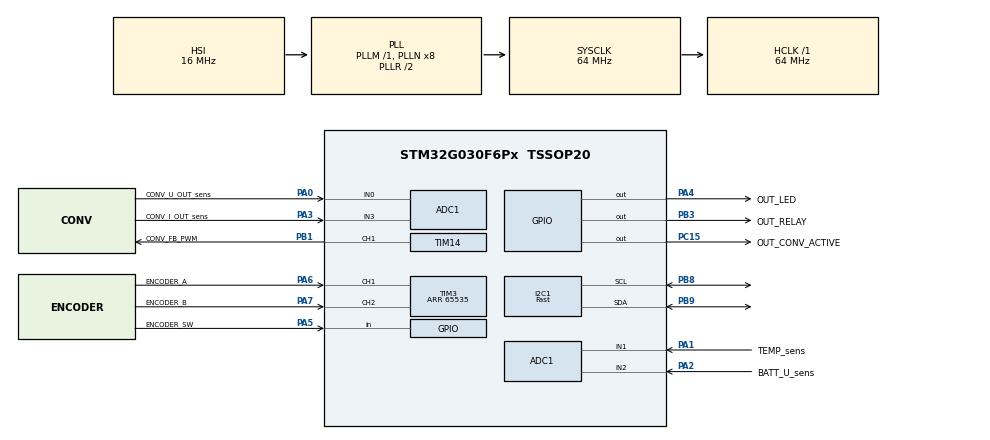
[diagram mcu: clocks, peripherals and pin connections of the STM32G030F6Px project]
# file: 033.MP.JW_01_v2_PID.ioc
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ADC1.Channel-0\#ChannelRegularConversion=ADC_CHANNEL_0
ADC1.Channel-1\#ChannelRegularConversion=ADC_CHANNEL_1
ADC1.Channel-2\#ChannelRegularConversion=ADC_CHANNEL_2
ADC1.Channel-3\#ChannelRegularConversion=ADC_CHANNEL_3
ADC1.ClockPrescaler=ADC_CLOCK_SYNC_PCLK_DIV2
ADC1.ContinuousConvMode=ENABLE
ADC1.DMAContinuousRequests=ENABLE
ADC1.NbrOfConversion=4
ADC1.NbrOfConversionFlag=1
ADC1.OversamplingMode=ENABLE
ADC1.Rank-0\#ChannelRegularConversion=1
ADC1.Rank-1\#ChannelRegularConversion=2
ADC1.Rank-2\#ChannelRegularConversion=3
ADC1.Rank-3\#ChannelRegularConversion=4
ADC1.Ratio=ADC_OVERSAMPLING_RATIO_256
ADC1.RightBitShift=ADC_RIGHTBITSHIFT_8
ADC1.SamplingTime-0\#ChannelRegularConversion=ADC_SAMPLINGTIME_COMMON_1
ADC1.SamplingTime-1\#ChannelRegularConversion=ADC_SAMPLINGTIME_COMMON_1
ADC1.SamplingTime-2\#ChannelRegularConversion=ADC_SAMPLINGTIME_COMMON_1
ADC1.SamplingTime-3\#ChannelRegularConversion=ADC_SAMPLINGTIME_COMMON_1
ADC1.SamplingTimeCommon1=ADC_SAMPLETIME_160CYCLES_5
ADC1.SamplingTimeCommon2=ADC_SAMPLETIME_160CYCLES_5
ADC1.SelectedChannel=ADC_CHANNEL_0|ADC_CHANNEL_1|ADC_CHANNEL_2|ADC_CHANNEL_3|ADC_CHANNEL_VBAT
ADC1.TriggerFrequencyMode=ADC_TRIGGER_FREQ_LOW
ADC1.master=1
Dma.ADC1.0.Direction=DMA_PERIPH_TO_MEMORY
Dma.ADC1.0.EventEnable=DISABLE
Dma.ADC1.0.Instance=DMA1_Channel1
Dma.ADC1.0.MemDataAlignment=DMA_MDATAALIGN_WORD
Dma.ADC1.0.MemInc=DMA_MINC_ENABLE
Dma.ADC1.0.Mode=DMA_CIRCULAR
Dma.ADC1.0.PeriphDataAlignment=DMA_PDATAALIGN_WORD
Dma.ADC1.0.PeriphInc=DMA_PINC_DISABLE
Dma.ADC1.0.Polarity=HAL_DMAMUX_REQ_GEN_RISING
Dma.ADC1.0.Priority=DMA_PRIORITY_LOW
Dma.ADC1.0.RequestNumber=1
Dma.ADC1.0.SignalID=NONE
Dma.ADC1.0.SyncEnable=DISABLE
Dma.ADC1.0.SyncPolarity=HAL_DMAMUX_SYNC_NO_EVENT
Dma.ADC1.0.SyncRequestNumber=1
Dma.ADC1.0.SyncSignalID=NONE
Dma.Request0=ADC1
I2C1.CustomTiming=Disabled
I2C1.I2C_Speed_Mode=I2C_Fast
I2C1.Timing=0x00C12166
Mcu.Family=STM32G0
Mcu.Name=STM32G030F6Px
Mcu.Package=TSSOP20
NVIC.DMA1_Channel1_IRQn=true\:0\:0\:false\:false\:true\:false\:true\:true
NVIC.TIM3_IRQn=true\:0\:0\:false\:false\:true\:true\:true\:true
PA0.GPIO_Label=CONV_U_OUT_sens
PA0.Mode=IN0
PA0.Signal=ADC1_IN0
PA1.GPIO_Label=TEMP_sens
PA1.Mode=IN1
PA1.Signal=ADC1_IN1
PA14-BOOT0__PA15.StandardMode=true
PA2.GPIO_Label=BATT_U_sens
PA2.Mode=IN2
PA2.Signal=ADC1_IN2
PA3.GPIO_Label=CONV_I_OUT_sens
PA3.Mode=IN3
PA3.Signal=ADC1_IN3
PA4.GPIO_Label=OUT_LED
PA4.GPIO_PuPd=GPIO_PULLDOWN
PA4.Signal=GPIO_Output
PA5.GPIO_Label=ENCODER_SW
PA5.GPIO_PuPd=GPIO_PULLUP
PA5.Signal=GPIO_Input
PA6.GPIO_Label=ENCODER_A
PA6.GPIO_PuPd=GPIO_PULLUP
PA6.Signal=S_TIM3_CH1
PA7.GPIO_Label=ENCODER_B
PA7.GPIO_PuPd=GPIO_PULLUP
PA7.Signal=S_TIM3_CH2
PB0__PB1__PB2__PA8.StandardMode=true
PB1.GPIO_Label=CONV_FB_PWM
PB1.GPIO_PuPd=GPIO_PULLDOWN
PB1.GPIO_Speed=GPIO_SPEED_FREQ_VERY_HIGH
PB1.Signal=S_TIM14_CH1
PB3.GPIO_Label=OUT_RELAY
PB3.GPIO_PuPd=GPIO_PULLDOWN
PB3.Signal=GPIO_Output
PB3__PB4__PB5__PB6.StandardMode=true
PB7__PB8.StandardMode=true
PB8.GPIO_Pu=GPIO_NOPULL
PB8.Mode=I2C
PB8.Signal=I2C1_SCL
PB9.GPIO_Pu=GPIO_NOPULL
PB9.Mode=I2C
PB9.Signal=I2C1_SDA
PC14-OSC32_IN\ (PC14)__PB9.StandardMode=true
PC15-OSC32_OUT\ (PC15).GPIO_Label=OUT_CONV_ACTIVE
PC15-OSC32_OUT\ (PC15).GPIO_PuPd=GPIO_PULLDOWN
PC15-OSC32_OUT\ (PC15).Signal=GPIO_Output
ProjectManager.HeapSize=0x200
ProjectManager.StackSize=0x400
ProjectManager.TargetToolchain=STM32CubeIDE
RCC.ADCFreq_Value=64000000
RCC.AHBFreq_Value=64000000
RCC.CortexFreq_Value=64000000
RCC.EXTERNAL_CLOCK_VALUE=12288000
RCC.HCLKFreq_Value=64000000
RCC.HSE_VALUE=8000000
RCC.HSI_VALUE=16000000
RCC.LSE_VALUE=32768
RCC.SYSCLKFreq_VALUE=64000000
RCC.SYSCLKSource=RCC_SYSCLKSOURCE_PLLCLK
RCC.VCOOutputFreq_Value=128000000
SH.S_TIM14_CH1.0=TIM14_CH1,PWM Generation1 CH1
SH.S_TIM3_CH1.0=TIM3_CH1,Encoder_Interface
SH.S_TIM3_CH2.0=TIM3_CH2,Encoder_Interface
TIM14.AutoReloadPreload=TIM_AUTORELOAD_PRELOAD_ENABLE
TIM14.Channel=TIM_CHANNEL_1
TIM14.ClockDivision=TIM_CLOCKDIVISION_DIV1
TIM14.Period=639
TIM14.Prescaler=0
TIM3.EncoderMode=TIM_ENCODERMODE_TI1
TIM3.IC1Filter=15
TIM3.IC1Polarity=TIM_ICPOLARITY_FALLING
TIM3.IC2Filter=15
TIM3.IC2Polarity=TIM_ICPOLARITY_FALLING
TIM3.Period=65535
VP_ADC1_Vbat_Input.Mode=IN-Vbat
VP_TIM14_VS_ClockSourceINT.Mode=Enable_Timer
board=custom

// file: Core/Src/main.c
/* USER CODE BEGIN Header */
/**
 ******************************************************************************
 * @file           : main.c
 * @brief          : Main program body
 ******************************************************************************
 * @attention
 *
 * Copyright (c) 2024 STMicroelectronics.
 * All rights reserved.
 *
 * This software is licensed under terms that can be found in the LICENSE file
 * in the root directory of this software component.
 * If no LICENSE file comes with this software, it is provided AS-IS.
 *
 ******************************************************************************
 */
/* USER CODE END Header */
#include "main.h"

/* USER CODE BEGIN Includes */
#include "Anglas_INA226.h"
#include "fonts.h"
#include "ssd1306.h"
#include "ftoa.h"
#include "stdlib.h"
#include "math.h"
#include "stdio.h"
#include "pid.h"

/* USER CODE END Includes */

/* USER CODE BEGIN PD */
#define mes_size 4	//adc buffer
#define conv_pwm_arr 450	//max pwm
#define soldering_error_value 0	//solder station error value based on PTC

int16_t pwm = 0;	//pwm
uint32_t adc_raw_value[mes_size]; //raw ADC

//interface
//variable to control encoder puschbuttons
uint32_t pushbutton_encoder_counter = 0;
uint32_t pushbutton_encoder = 0;
uint32_t sw_encoder_last_time = 0;
uint32_t current_time = 0;
const uint16_t switch_time[3] =
    {
    100, 1000
    };
int16_t encoder_rot = -1; //variable to use encoder
int16_t encoder_rot_prev = 0; //variable to use encoder

//variable to control
uint8_t screen_indicator = 0;
uint8_t main_screen = 0;
uint8_t main_screen_old = 0;
uint8_t work_mode = 0;
uint8_t mode_data = 0;

//solder station
uint16_t set_temp = 365;
uint16_t mes_temp = 0;
uint8_t solder_station_error = 0;

//converter
float set_voltage = 5.0f;	//in V
int16_t set_current = 1000;	//in mA
float mes_voltage = 0.0f;	//in V
int16_t mes_current = 0;	//in mA
float mes_power =0.0f;

//PID
PID_TypeDef SS_PID;
PID_TypeDef C_PID;
double mes_temp_d;
double set_temp_d;
double pwm_d;
double mes_voltage_d;
double set_voltage_d;

/* USER CODE END PD */

ADC_HandleTypeDef hadc1;
DMA_HandleTypeDef hdma_adc1;

I2C_HandleTypeDef hi2c1;

TIM_HandleTypeDef htim3;
TIM_HandleTypeDef htim14;

/* USER CODE BEGIN PV */
//map int
long map(long x, long in_min, long in_max, long out_min, long out_max)
    {
    /*
     * map function or linear transformation
     * x - value to scale
     * in_min - min input value to be scaled
     * in_max - max input value to be scaled
     * out_min - min output value after scaled
     * out_max - max output value after scaled
     */
    return (x - in_min) * (out_max - out_min) / (in_max - in_min) + out_min;
    }
//map float
float map_f(float x, float in_min, float in_max, float out_min, float out_max)
    {
    /*
     *  map function or linear transformation
     * x - value to scale
     * in_min - min input value to be scaled
     * in_max - max input value to be scaled
     * out_min - min output value after scaled
     * out_max - max output value after scaled
     */
    return (x - in_min) * (out_max - out_min) / (in_max - in_min) + out_min;
    }

//constrain int
int64_t constrain(int64_t x, int64_t a, int64_t b)
    {
    /*
     * function to limit the input values
     * x - input value
     * a - lowest value of the range
     * b - highest value of the range
     */

    if (x < a)
	{
	return a;
	}
    else if (x > b)
	{
	return b;
	}
    else
	return x;
    }

//constrain float
float constrain_f(float x, float a, float b)
    {
    /*
     * function to limit the input values
     * x - input value
     * a - lowest value of the range
     * b - highest value of the range
     */

    if (x < a)
	{
	return a;
	}
    else if (x > b)
	{
	return b;
	}
    else
	return x;
    }

//function to scrolling values int
int32_t scroll_value(int64_t input, int64_t min, int64_t max)
    {
    /*
     * function to scrolling the input values
     * input - input value
     * min - lowest value of the range
     * max - highest value of the range
     */

    if (input > max)
	{
	input = min;
	}
    else if (input < min)
	{
	input = max;
	}
    else
	{

	}
    return input;
    }

//function to scrolling values float
float scroll_value_f(float input, float min, float max)
    {
    /*
     * function to scrolling the input values
     * input - input value
     * min - lowest value of the range
     * max - highest value of the range
     */

    if (input > max)
	{
	input = min;
	}
    else if (input < min)
	{
	input = max;
	}
    else
	{

	}
    return input;
    }

//randomize a number from the range
int64_t random_number(int64_t min_rand, int64_t max_rand)
    {
    /*
     * function to randomize a number from the range
     * min_rand - lowest value of the range
     * max_rand - highest value of the range
     */

    int32_t tmp;
    if (max_rand >= min_rand)
	{
	max_rand -= min_rand;
	}
    else
	{
	tmp = min_rand - max_rand;
	min_rand = max_rand;
	max_rand = tmp;
	}
    return max_rand ? (rand() % max_rand + min_rand) : min_rand;
    }

//adc processing
float adc_read(uint8_t mode_out)
    {

    float U_reff = 3.3f;
    uint16_t adc_read_value[mes_size];
    float adc_ready_value[mes_size];

    float U_soc_batt = 0.0f;
    uint8_t soc_batt = 0;
    uint16_t T_solder = 0;
    float U_conv_out = 0.0f;
    float I_conv_out = 0.0f;

    float R_1 = 465.0f;
    float R_PTC = 0.0f;

    for (uint8_t i = 0; i <= (mes_size - 1); i++)
	{
	adc_read_value[i] = adc_raw_value[i];
	}

    for (uint8_t i = 0; i <= (mes_size - 1); i++)
	{
	adc_ready_value[i] = (U_reff / 4096) * adc_read_value[i];
	}

    //converter out coltage
    U_conv_out = adc_ready_value[0] * 11;

    // PTC temperature
    if (adc_ready_value[1] < 3.2f)
	{
	R_PTC = -((R_1 * adc_ready_value[1]) / (adc_ready_value[1] - U_reff));
	T_solder = (uint16_t) map_f(R_PTC, 50.8f, 110.0f, 22.0f, 400.0f);
	T_solder = T_solder * 0.50f;

	}
    else
	{
	T_solder = soldering_error_value;
	}

    //battery calculation
    U_soc_batt = (adc_ready_value[2] * 11) - 0.1f;
    soc_batt = (uint8_t) map_f(U_soc_batt, 18.0f, 21.0f, 0.0f, 100.0f);
    soc_batt = constrain(soc_batt, 0, 100);

    if (mode_out == 1)
	{
	return U_soc_batt;
	}
    else if (mode_out == 2)
	{
	return (float) soc_batt;
	}
    else if (mode_out == 3)
	{
	return (float) T_solder;
	}
    else if (mode_out == 4)
	{
	return U_conv_out;
	}
    else if (mode_out == 5)
	{
	return I_conv_out;
	}
    else
	{
	return 0;
	}

    }

//function to scrolling values from encoder to int
int32_t encoder_managment(int32_t input, int32_t min, int32_t max, int32_t step,
	uint8_t mode)
    {
    /*
     * function scroll values from encoder on the screen depending on the specified parameters
     * input - value to scroll
     * min - min scroll value
     * max - max scroll value
     * step - step to scroll
     * mode - if 1 is set the maximum value is not scrolled to the minimum value , if 0 after passing the maximum value returns the minimum value
     */

    encoder_rot = ( __HAL_TIM_GET_COUNTER(&htim3) >> 1); //encoder counter

    if (encoder_rot_prev > encoder_rot)
	{
	input = input - step;
	encoder_rot_prev = encoder_rot;
	}
    else if (encoder_rot_prev < encoder_rot)
	{
	input = input + step;
	encoder_rot_prev = encoder_rot;
	}
    else
	{

	}

    if (mode == 1)
	{
	input = constrain(input, min, max);
	}
    else
	{
	input = scroll_value(input, min, max);
	}

    return input;
    }

//function to scrolling values from encoder to float
float encoder_managment_f(float input, float min, float max, float step,
	uint8_t mode)
    {
    /*
     * function scroll values from encoder on the screen depending on the specified parameters
     * input - value to scroll
     * min - min scroll value
     * max - max scroll value
     * step - step to scroll
     * mode - if 1 is set the maximum value is not scrolled to the minimum value , if 0 after passing the maximum value returns the minimum value
     */

    encoder_rot = ( __HAL_TIM_GET_COUNTER(&htim3) >> 1); //encoder counter

    if (encoder_rot_prev > encoder_rot)
	{
	input = input - step;
	encoder_rot_prev = encoder_rot;
	}
    else if (encoder_rot_prev < encoder_rot)
	{
	input = input + step;
	encoder_rot_prev = encoder_rot;
	}
    else
	{

	}

    if (mode == 1)
	{
	input = constrain_f(input, min, max);
	}
    else
	{
	input = scroll_value_f(input, min, max);
	}

    return input;
    }

//converter screen
void oled_converter(void)
    {

    char screen_text_buff[5];
    uint8_t high_init = 0;
    uint8_t high = high_init;
    uint8_t data_step = 10;
    uint8_t on_off_sw = 0;
    uint8_t u_set_sw = 0;
    uint8_t i_set_sw = 0;

    SSD1306_GotoXY(1, high);
    SSD1306_Puts("-SUPPLY- ", &Font_7x10, 1);

    if (screen_indicator == 0)
	{
	on_off_sw = 0;
	u_set_sw = 1;
	i_set_sw = 1;
	}
    else if (screen_indicator == 1)
	{
	on_off_sw = 1;
	u_set_sw = 0;
	i_set_sw = 1;
	}
    else
	{
	on_off_sw = 1;
	u_set_sw = 1;
	i_set_sw = 0;
	}

    if (work_mode == 1)
	{
	SSD1306_Puts("ON ", &Font_7x10, on_off_sw);
	}
    else if (work_mode == 0)
	{
	SSD1306_Puts("OFF", &Font_7x10, on_off_sw);
	}
    else
	{
	SSD1306_Puts("ERR", &Font_7x10, on_off_sw);
	}

    high = high + data_step;
    SSD1306_GotoXY(1, high);
    SSD1306_Puts("U Set [V]: ", &Font_7x10, u_set_sw);
    ftoa(screen_text_buff, set_voltage, 1);
    SSD1306_Puts(screen_text_buff, &Font_7x10, 1);
    SSD1306_Puts("  ", &Font_7x10, 1);

    high = high + data_step;
    SSD1306_GotoXY(1, high);
    SSD1306_Puts("I Set [mA]: ", &Font_7x10, i_set_sw);
    itoa(set_current, screen_text_buff, 10);
    SSD1306_Puts(screen_text_buff, &Font_7x10, 1);
    SSD1306_Puts("  ", &Font_7x10, 1);

    high = high + data_step;
    SSD1306_GotoXY(1, high);
    SSD1306_Puts("U Mes [V]: ", &Font_7x10, 1);
    ftoa(screen_text_buff, mes_voltage, 1);
    SSD1306_Puts(screen_text_buff, &Font_7x10, 1);
    SSD1306_Puts("  ", &Font_7x10, 1);

    high = high + data_step;
    SSD1306_GotoXY(1, high);
    SSD1306_Puts("I Mes [mA]: ", &Font_7x10, 1);
    itoa(mes_current, screen_text_buff, 10);
    SSD1306_Puts(screen_text_buff, &Font_7x10, 1);
    SSD1306_Puts("   ", &Font_7x10, 1);

    //battery level
    high = high + data_step;
    SSD1306_GotoXY(1, high);
    SSD1306_Puts("BATT [V]: ", &Font_7x10, 1);
    ftoa(screen_text_buff, adc_read(1), 1);
    SSD1306_Puts(screen_text_buff, &Font_7x10, 1);
    SSD1306_Puts("  ", &Font_7x10, 1);

    //show data
    SSD1306_UpdateScreen();
    }

// solder station screen
void oled_solder_station(void)
    {

    //data to set cursor
    char screen_text_buff[5];
    uint8_t high_init = 0;
    uint8_t high = high_init;
    uint8_t data_step = 10;
    uint8_t on_off_sw = 0;
    uint8_t t_set_sw = 0;

    if (screen_indicator == 0)
	{
	on_off_sw = 0;
	t_set_sw = 1;
	}
    else
	{
	on_off_sw = 1;
	t_set_sw = 0;
	}

    //show title
    SSD1306_GotoXY(1, high);
    SSD1306_Puts("-SOLDER- ", &Font_7x10, 1);

    solder_station_error = 0;
    if ((work_mode == 1) && (adc_read(3) != soldering_error_value))
	{
	SSD1306_Puts("ON ", &Font_7x10, on_off_sw);
	}
    else if ((work_mode == 0) && (adc_read(3) != 0.0f))
	{
	SSD1306_Puts("OFF", &Font_7x10, on_off_sw);
	}
    else
	{
	solder_station_error = 1;
	SSD1306_Puts("ERR", &Font_7x10, on_off_sw);
	}

    high = high + data_step;
    SSD1306_GotoXY(1, high);
    SSD1306_Puts("Temp Set[C]: ", &Font_7x10, t_set_sw);
    itoa(set_temp, screen_text_buff, 10);
    SSD1306_Puts(screen_text_buff, &Font_7x10, 1);
    SSD1306_Puts("  ", &Font_7x10, 1);

    high = high + data_step;
    SSD1306_GotoXY(1, high);
    SSD1306_Puts("Temp Mes[C]: ", &Font_7x10, 1);
    itoa(mes_temp, screen_text_buff, 10);
    SSD1306_Puts(screen_text_buff, &Font_7x10, 1);
    SSD1306_Puts("  ", &Font_7x10, 1);

    //solder power
    high = high + data_step;
    SSD1306_GotoXY(1, high);
    SSD1306_Puts("POW [W]: ", &Font_7x10, 1);
    ftoa(screen_text_buff, mes_power, 1);
    SSD1306_Puts(screen_text_buff, &Font_7x10, 1);
    SSD1306_Puts("  ", &Font_7x10, 1);

    //battery level
    high = high + data_step;
    SSD1306_GotoXY(1, high);
    SSD1306_Puts("BATT [V]: ", &Font_7x10, 1);
    ftoa(screen_text_buff, adc_read(1), 1);
    SSD1306_Puts(screen_text_buff, &Font_7x10, 1);
    SSD1306_Puts("  ", &Font_7x10, 1);

    //show data
    SSD1306_UpdateScreen();
    }

////welcome screen
void oled_hello(void)
    {
    //show start screen
    HAL_Delay(100);
    SSD1306_GotoXY(10, 10);
    SSD1306_Puts("INIT OK", &Font_7x10, 1);
    SSD1306_UpdateScreen();
    HAL_Delay(500);
    SSD1306_Clear();
    }

void oled_debug(uint8_t x, uint8_t y, char name[], int32_t data,
	uint32_t time)
    {
    char label[6];
    SSD1306_Clear();
    SSD1306_GotoXY(x, y);
    SSD1306_Puts(name, &Font_7x10, 1);
    SSD1306_Puts(" ", &Font_7x10, 1);
    itoa(data, label, 10);
    SSD1306_Puts(label, &Font_7x10, 1);
    SSD1306_Puts(" ", &Font_7x10, 1);
    SSD1306_UpdateScreen();
    HAL_Delay(time);
    SSD1306_Clear();
    }

void interface_task(void)
    {

    //switch
    if (HAL_GPIO_ReadPin(ENCODER_SW_GPIO_Port, ENCODER_SW_Pin)
	    == GPIO_PIN_RESET)
	{

	}
    else
	{
	if ((current_time - sw_encoder_last_time) >= switch_time[1])
	    {
	    main_screen++;
	    }
	else if (((current_time - sw_encoder_last_time) > switch_time[0])
		&& ((current_time - sw_encoder_last_time) < switch_time[1]))
	    {
	    screen_indicator++;
	    }
	else
	    {

	    }
	sw_encoder_last_time = current_time;
	}

    //change screen if PTC is not connectd
    if(adc_read(3) == soldering_error_value)
	{
	if (main_screen == 0)
	    {
	    main_screen = 1;
	    work_mode = 0;
	    }
	}

    //screen manage
    if (main_screen == 0)	//solder station
	{
	mes_temp = (uint16_t) adc_read(3);

	if (screen_indicator == 1)
	    {
	    set_temp = encoder_managment(set_temp, 30, 500, 5, 1);
	    }
	else if (screen_indicator == 0)
	    {
	    work_mode = encoder_managment(work_mode, 0, 1, 1, 1);
	    }
	else
	    {
	    screen_indicator = 0;
	    }
	}
    else if (main_screen == 1)	//supply source
	{
	if (screen_indicator == 1)
	    {
	    set_voltage = encoder_managment_f(set_voltage, 0.0f, 32.0f, 0.1f,
		    1);
	    }
	else if (screen_indicator == 2)
	    {
	    set_current = encoder_managment(set_current, 0, 3000, 50 , 1);
	    }
	else if (screen_indicator == 0)
	    {
	    work_mode = encoder_managment(work_mode, 0, 1, 1, 1);
	    }
	else
	    {
	    screen_indicator = 0;
	    }
	}
    else	//reset state
	{
	main_screen = 0;
	work_mode = 0;
	screen_indicator = 0;
	}

    //screen update interval settings
    current_time = HAL_GetTick();
    static uint32_t last_oled_time = 0;
    const uint32_t oled_interval = 300;

    //oled update
	if (current_time - last_oled_time > oled_interval)
	    {

	    if (main_screen == 1)
		{
		oled_converter();
		}
	    else if (main_screen == 0)
		{
		oled_solder_station();
		}

	    //czyszczenie ekranu
	    if (main_screen != main_screen_old)
		{
		SSD1306_Clear();
		main_screen_old = main_screen;
		}

	    last_oled_time = current_time;
	    }

    //ina interval
    static uint32_t last_INA_time = 0;
    const uint32_t INA_interval = 100;

    //read adc
    mes_voltage = adc_read(4);

    if (current_time - last_INA_time > INA_interval)
	{
	mes_current = (uint16_t) INA226_Current();
	mes_power = INA226_Power();

	last_INA_time = current_time;
	}

    //work
    if (work_mode == 0)	//off
	{
	HAL_GPIO_WritePin(OUT_RELAY_GPIO_Port, OUT_RELAY_Pin, RESET);
	HAL_GPIO_WritePin(OUT_LED_GPIO_Port, OUT_LED_Pin, RESET);

	if(PID_GetMode(&SS_PID)==_PID_MODE_AUTOMATIC)
	    {
	    PID_SetMode(&SS_PID, _PID_MODE_MANUAL);
	    }

	if(PID_GetMode(&C_PID)==_PID_MODE_AUTOMATIC)
	    {
	    PID_SetMode(&C_PID, _PID_MODE_MANUAL);
	    }

	__HAL_TIM_SET_COMPARE(&htim14, TIM_CHANNEL_1, 0);

	}
    else
	{
	mes_voltage = adc_read(4); // voltage measure
	current_time = HAL_GetTick();	//check time

	if ((main_screen == 0) && (adc_read(3) != soldering_error_value))//solder station
	    {
	    HAL_GPIO_WritePin(OUT_RELAY_GPIO_Port, OUT_RELAY_Pin, RESET);

	    //turn on regulator
	    if(PID_GetMode(&SS_PID)==_PID_MODE_MANUAL)
	    {
	    PID_SetMode(&SS_PID, _PID_MODE_AUTOMATIC);
	    }

	    static uint32_t last_SS_time = 0;
	    const uint32_t SS_interval = 100;

	    //pid interval
	    if (current_time - last_SS_time > SS_interval)
		{

		mes_temp_d = (double) mes_temp;
		set_temp_d = (double) set_temp;

		PID_Compute(&SS_PID);

		pwm = (int16_t) pwm_d;

		last_SS_time = current_time;
		}

	    HAL_GPIO_WritePin(OUT_LED_GPIO_Port, OUT_LED_Pin, SET);

	    }
	else if (main_screen == 1) //converter
	    {
	    HAL_GPIO_WritePin(OUT_RELAY_GPIO_Port, OUT_RELAY_Pin, SET);

	    //turn on PID
	    if(PID_GetMode(&C_PID)==_PID_MODE_MANUAL)
	    {
	    PID_SetMode(&C_PID, _PID_MODE_AUTOMATIC);
	    }

	    static uint32_t last_C_time = 0;
	    const uint32_t C_interval = 5;

	    if (current_time - last_C_time > C_interval)
		{

	    mes_voltage_d = (double)mes_voltage;
	    set_voltage_d = (double)set_voltage;

	    PID_Compute(&C_PID);

	    pwm = (int16_t)pwm_d;

	    last_C_time = current_time;
		}

	    }

	HAL_GPIO_WritePin(OUT_LED_GPIO_Port, OUT_LED_Pin, SET);
	//set pwm
	pwm = constrain(pwm, 0, conv_pwm_arr);
	__HAL_TIM_SET_COMPARE(&htim14, TIM_CHANNEL_1, pwm);
	}
    }

/* USER CODE END PV */

void SystemClock_Config(void);
static void MX_GPIO_Init(void);
static void MX_DMA_Init(void);
static void MX_I2C1_Init(void);
static void MX_TIM3_Init(void);
static void MX_TIM14_Init(void);
static void MX_ADC1_Init(void);

int main(void)
{

  /* MCU Configuration--------------------------------------------------------*/

  /* Reset of all peripherals, Initializes the Flash interface and the Systick. */
  HAL_Init();

  /* Configure the system clock */
  SystemClock_Config();

  /* USER CODE BEGIN SysInit */
    HAL_Delay(100);
  /* USER CODE END SysInit */

  /* Initialize all configured peripherals */
  MX_GPIO_Init();
  MX_DMA_Init();
  MX_I2C1_Init();
  MX_TIM3_Init();
  MX_TIM14_Init();
  MX_ADC1_Init();
  /* USER CODE BEGIN 2 */

    HAL_Delay(100);

    SSD1306_Init();

//    INA226_Init(3000, 19, AVG_16, T_Vbus_204us, T_Vshunt_204us,
//	    MODE_SHUNT_BUS_CONTINUOUS);	//for XL6009

    INA226_Init(3000, 16, AVG_16, T_Vbus_140us, T_Vbus_140us,
	    MODE_SHUNT_BUS_CONTINUOUS);	//for XL6019

    //others modules
    HAL_ADCEx_Calibration_Start(&hadc1);
    HAL_TIM_Encoder_Start(&htim3, TIM_CHANNEL_ALL);	//encoder
    HAL_TIM_PWM_Start(&htim14, TIM_CHANNEL_1);
    HAL_ADC_Start_DMA(&hadc1, adc_raw_value, mes_size);

    //id for solder station
    PID(&SS_PID, &mes_temp_d, &pwm_d, &set_temp_d, 10.0, 0.5, 20.0, _PID_P_ON_E, _PID_CD_DIRECT);

    PID_SetMode(&SS_PID, _PID_MODE_AUTOMATIC);
    PID_SetSampleTime(&SS_PID, 100);
    PID_SetOutputLimits(&SS_PID, 0, conv_pwm_arr);

    //pid for converter
    PID(&C_PID, &mes_voltage_d, &pwm_d, &set_voltage_d, 1.0, 0.3, 0.0, _PID_P_ON_M, _PID_CD_DIRECT);

    PID_SetMode(&C_PID, _PID_MODE_AUTOMATIC);
    PID_SetSampleTime(&C_PID, 5);
    PID_SetOutputLimits(&C_PID, 0, conv_pwm_arr);

    oled_hello();

  /* USER CODE END 2 */

  /* Infinite loop */
  /* USER CODE BEGIN WHILE */
    while (1)
	{
	interface_task();

    /* USER CODE END WHILE */

	}
}

void SystemClock_Config(void)
{
  RCC_OscInitTypeDef RCC_OscInitStruct = {0};
  RCC_ClkInitTypeDef RCC_ClkInitStruct = {0};

  /** Configure the main internal regulator output voltage
  */
  HAL_PWREx_ControlVoltageScaling(PWR_REGULATOR_VOLTAGE_SCALE1);

  /** Initializes the RCC Oscillators according to the specified parameters
  * in the RCC_OscInitTypeDef structure.
  */
  RCC_OscInitStruct.OscillatorType = RCC_OSCILLATORTYPE_HSI;
  RCC_OscInitStruct.HSIState = RCC_HSI_ON;
  RCC_OscInitStruct.HSIDiv = RCC_HSI_DIV1;
  RCC_OscInitStruct.HSICalibrationValue = RCC_HSICALIBRATION_DEFAULT;
  RCC_OscInitStruct.PLL.PLLState = RCC_PLL_ON;
  RCC_OscInitStruct.PLL.PLLSource = RCC_PLLSOURCE_HSI;
  RCC_OscInitStruct.PLL.PLLM = RCC_PLLM_DIV1;
  RCC_OscInitStruct.PLL.PLLN = 8;
  RCC_OscInitStruct.PLL.PLLP = RCC_PLLP_DIV2;
  RCC_OscInitStruct.PLL.PLLR = RCC_PLLR_DIV2;
  if (HAL_RCC_OscConfig(&RCC_OscInitStruct) != HAL_OK)
  {
    Error_Handler();
  }

  /** Initializes the CPU, AHB and APB buses clocks
  */
  RCC_ClkInitStruct.ClockType = RCC_CLOCKTYPE_HCLK|RCC_CLOCKTYPE_SYSCLK
                              |RCC_CLOCKTYPE_PCLK1;
  RCC_ClkInitStruct.SYSCLKSource = RCC_SYSCLKSOURCE_PLLCLK;
  RCC_ClkInitStruct.AHBCLKDivider = RCC_SYSCLK_DIV1;
  RCC_ClkInitStruct.APB1CLKDivider = RCC_HCLK_DIV1;

  if (HAL_RCC_ClockConfig(&RCC_ClkInitStruct, FLASH_LATENCY_2) != HAL_OK)
  {
    Error_Handler();
  }
}

static void MX_ADC1_Init(void)
{

  ADC_ChannelConfTypeDef sConfig = {0};

  /** Configure the global features of the ADC (Clock, Resolution, Data Alignment and number of conversion)
  */
  hadc1.Instance = ADC1;
  hadc1.Init.ClockPrescaler = ADC_CLOCK_SYNC_PCLK_DIV2;
  hadc1.Init.Resolution = ADC_RESOLUTION_12B;
  hadc1.Init.DataAlign = ADC_DATAALIGN_RIGHT;
  hadc1.Init.ScanConvMode = ADC_SCAN_ENABLE;
  hadc1.Init.EOCSelection = ADC_EOC_SINGLE_CONV;
  hadc1.Init.LowPowerAutoWait = DISABLE;
  hadc1.Init.LowPowerAutoPowerOff = DISABLE;
  hadc1.Init.ContinuousConvMode = ENABLE;
  hadc1.Init.NbrOfConversion = 4;
  hadc1.Init.ExternalTrigConv = ADC_SOFTWARE_START;
  hadc1.Init.ExternalTrigConvEdge = ADC_EXTERNALTRIGCONVEDGE_NONE;
  hadc1.Init.DMAContinuousRequests = ENABLE;
  hadc1.Init.Overrun = ADC_OVR_DATA_PRESERVED;
  hadc1.Init.SamplingTimeCommon1 = ADC_SAMPLETIME_160CYCLES_5;
  hadc1.Init.SamplingTimeCommon2 = ADC_SAMPLETIME_160CYCLES_5;
  hadc1.Init.OversamplingMode = ENABLE;
  hadc1.Init.Oversampling.Ratio = ADC_OVERSAMPLING_RATIO_256;
  hadc1.Init.Oversampling.RightBitShift = ADC_RIGHTBITSHIFT_8;
  hadc1.Init.Oversampling.TriggeredMode = ADC_TRIGGEREDMODE_SINGLE_TRIGGER;
  hadc1.Init.TriggerFrequencyMode = ADC_TRIGGER_FREQ_LOW;
  if (HAL_ADC_Init(&hadc1) != HAL_OK)
  {
    Error_Handler();
  }

  /** Configure Regular Channel
  */
  sConfig.Channel = ADC_CHANNEL_0;
  sConfig.Rank = ADC_REGULAR_RANK_1;
  sConfig.SamplingTime = ADC_SAMPLINGTIME_COMMON_1;
  if (HAL_ADC_ConfigChannel(&hadc1, &sConfig) != HAL_OK)
  {
    Error_Handler();
  }

  /** Configure Regular Channel
  */
  sConfig.Channel = ADC_CHANNEL_1;
  sConfig.Rank = ADC_REGULAR_RANK_2;
  if (HAL_ADC_ConfigChannel(&hadc1, &sConfig) != HAL_OK)
  {
    Error_Handler();
  }

  /** Configure Regular Channel
  */
  sConfig.Channel = ADC_CHANNEL_2;
  sConfig.Rank = ADC_REGULAR_RANK_3;
  if (HAL_ADC_ConfigChannel(&hadc1, &sConfig) != HAL_OK)
  {
    Error_Handler();
  }

  /** Configure Regular Channel
  */
  sConfig.Channel = ADC_CHANNEL_3;
  sConfig.Rank = ADC_REGULAR_RANK_4;
  if (HAL_ADC_ConfigChannel(&hadc1, &sConfig) != HAL_OK)
  {
    Error_Handler();
  }

}

static void MX_I2C1_Init(void)
{

  hi2c1.Instance = I2C1;
  hi2c1.Init.Timing = 0x00C12166;
  hi2c1.Init.OwnAddress1 = 0;
  hi2c1.Init.AddressingMode = I2C_ADDRESSINGMODE_7BIT;
  hi2c1.Init.DualAddressMode = I2C_DUALADDRESS_DISABLE;
  hi2c1.Init.OwnAddress2 = 0;
  hi2c1.Init.OwnAddress2Masks = I2C_OA2_NOMASK;
  hi2c1.Init.GeneralCallMode = I2C_GENERALCALL_DISABLE;
  hi2c1.Init.NoStretchMode = I2C_NOSTRETCH_DISABLE;
  if (HAL_I2C_Init(&hi2c1) != HAL_OK)
  {
    Error_Handler();
  }

  /** Configure Analogue filter
  */
  if (HAL_I2CEx_ConfigAnalogFilter(&hi2c1, I2C_ANALOGFILTER_ENABLE) != HAL_OK)
  {
    Error_Handler();
  }

  /** Configure Digital filter
  */
  if (HAL_I2CEx_ConfigDigitalFilter(&hi2c1, 0) != HAL_OK)
  {
    Error_Handler();
  }

}

static void MX_TIM3_Init(void)
{

  TIM_Encoder_InitTypeDef sConfig = {0};
  TIM_MasterConfigTypeDef sMasterConfig = {0};

  htim3.Instance = TIM3;
  htim3.Init.Prescaler = 0;
  htim3.Init.CounterMode = TIM_COUNTERMODE_UP;
  htim3.Init.Period = 65535;
  htim3.Init.ClockDivision = TIM_CLOCKDIVISION_DIV1;
  htim3.Init.AutoReloadPreload = TIM_AUTORELOAD_PRELOAD_DISABLE;
  sConfig.EncoderMode = TIM_ENCODERMODE_TI1;
  sConfig.IC1Polarity = TIM_ICPOLARITY_FALLING;
  sConfig.IC1Selection = TIM_ICSELECTION_DIRECTTI;
  sConfig.IC1Prescaler = TIM_ICPSC_DIV1;
  sConfig.IC1Filter = 15;
  sConfig.IC2Polarity = TIM_ICPOLARITY_FALLING;
  sConfig.IC2Selection = TIM_ICSELECTION_DIRECTTI;
  sConfig.IC2Prescaler = TIM_ICPSC_DIV1;
  sConfig.IC2Filter = 15;
  if (HAL_TIM_Encoder_Init(&htim3, &sConfig) != HAL_OK)
  {
    Error_Handler();
  }
  sMasterConfig.MasterOutputTrigger = TIM_TRGO_RESET;
  sMasterConfig.MasterSlaveMode = TIM_MASTERSLAVEMODE_DISABLE;
  if (HAL_TIMEx_MasterConfigSynchronization(&htim3, &sMasterConfig) != HAL_OK)
  {
    Error_Handler();
  }

}

static void MX_TIM14_Init(void)
{

  TIM_OC_InitTypeDef sConfigOC = {0};

  htim14.Instance = TIM14;
  htim14.Init.Prescaler = 0;
  htim14.Init.CounterMode = TIM_COUNTERMODE_UP;
  htim14.Init.Period = 639;
  htim14.Init.ClockDivision = TIM_CLOCKDIVISION_DIV1;
  htim14.Init.AutoReloadPreload = TIM_AUTORELOAD_PRELOAD_ENABLE;
  if (HAL_TIM_Base_Init(&htim14) != HAL_OK)
  {
    Error_Handler();
  }
  if (HAL_TIM_PWM_Init(&htim14) != HAL_OK)
  {
    Error_Handler();
  }
  sConfigOC.OCMode = TIM_OCMODE_PWM1;
  sConfigOC.Pulse = 0;
  sConfigOC.OCPolarity = TIM_OCPOLARITY_HIGH;
  sConfigOC.OCFastMode = TIM_OCFAST_DISABLE;
  if (HAL_TIM_PWM_ConfigChannel(&htim14, &sConfigOC, TIM_CHANNEL_1) != HAL_OK)
  {
    Error_Handler();
  }
  HAL_TIM_MspPostInit(&htim14);

}

static void MX_DMA_Init(void)
{

  /* DMA controller clock enable */
  __HAL_RCC_DMA1_CLK_ENABLE();

  /* DMA interrupt init */
  /* DMA1_Channel1_IRQn interrupt configuration */
  HAL_NVIC_SetPriority(DMA1_Channel1_IRQn, 0, 0);
  HAL_NVIC_EnableIRQ(DMA1_Channel1_IRQn);

}

static void MX_GPIO_Init(void)
{
  GPIO_InitTypeDef GPIO_InitStruct = {0};

  /* GPIO Ports Clock Enable */
  __HAL_RCC_GPIOB_CLK_ENABLE();
  __HAL_RCC_GPIOC_CLK_ENABLE();
  __HAL_RCC_GPIOA_CLK_ENABLE();

  /*Configure GPIO pin Output Level */
  HAL_GPIO_WritePin(OUT_CONV_ACTIVE_GPIO_Port, OUT_CONV_ACTIVE_Pin, GPIO_PIN_RESET);

  /*Configure GPIO pin Output Level */
  HAL_GPIO_WritePin(OUT_LED_GPIO_Port, OUT_LED_Pin, GPIO_PIN_RESET);

  /*Configure GPIO pin Output Level */
  HAL_GPIO_WritePin(OUT_RELAY_GPIO_Port, OUT_RELAY_Pin, GPIO_PIN_RESET);

  /*Configure GPIO pin : OUT_CONV_ACTIVE_Pin */
  GPIO_InitStruct.Pin = OUT_CONV_ACTIVE_Pin;
  GPIO_InitStruct.Mode = GPIO_MODE_OUTPUT_PP;
  GPIO_InitStruct.Pull = GPIO_PULLDOWN;
  GPIO_InitStruct.Speed = GPIO_SPEED_FREQ_LOW;
  HAL_GPIO_Init(OUT_CONV_ACTIVE_GPIO_Port, &GPIO_InitStruct);

  /*Configure GPIO pin : OUT_LED_Pin */
  GPIO_InitStruct.Pin = OUT_LED_Pin;
  GPIO_InitStruct.Mode = GPIO_MODE_OUTPUT_PP;
  GPIO_InitStruct.Pull = GPIO_PULLDOWN;
  GPIO_InitStruct.Speed = GPIO_SPEED_FREQ_LOW;
  HAL_GPIO_Init(OUT_LED_GPIO_Port, &GPIO_InitStruct);

  /*Configure GPIO pin : ENCODER_SW_Pin */
  GPIO_InitStruct.Pin = ENCODER_SW_Pin;
  GPIO_InitStruct.Mode = GPIO_MODE_INPUT;
  GPIO_InitStruct.Pull = GPIO_PULLUP;
  HAL_GPIO_Init(ENCODER_SW_GPIO_Port, &GPIO_InitStruct);

  /*Configure GPIO pin : OUT_RELAY_Pin */
  GPIO_InitStruct.Pin = OUT_RELAY_Pin;
  GPIO_InitStruct.Mode = GPIO_MODE_OUTPUT_PP;
  GPIO_InitStruct.Pull = GPIO_PULLDOWN;
  GPIO_InitStruct.Speed = GPIO_SPEED_FREQ_LOW;
  HAL_GPIO_Init(OUT_RELAY_GPIO_Port, &GPIO_InitStruct);

}

void Error_Handler(void)
{
    __disable_irq();
    while (1)
	{
	}
}
